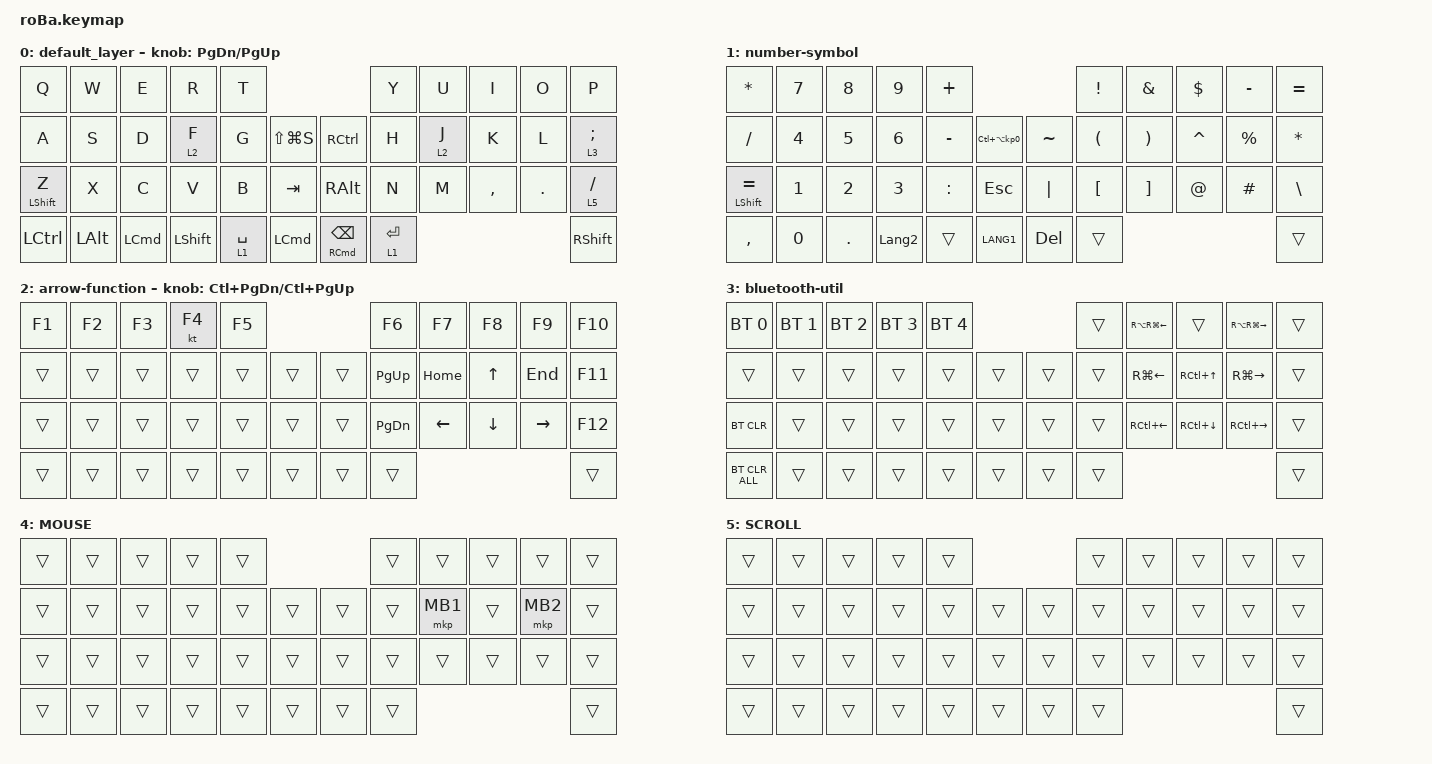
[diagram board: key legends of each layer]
#include <input/processors.dtsi>
#include <behaviors.dtsi>
#include <dt-bindings/zmk/bt.h>
#include <dt-bindings/zmk/keys.h>
#include <dt-bindings/zmk/pointing.h>

#define MOUSE 4

&mt {
    flavor = "balanced";
    quick-tap-ms = <150>;
    tapping-term-ms = <150>;
};

&trackball {
    // automouse-layer = <4>;

    scroll-layers = <5>;

    // arrows {
    //     layers = <3>;
    //     bindings =
    //         <&kp RIGHT_ARROW>,
    //         <&kp LEFT_ARROW>,
    //         <&kp UP_ARROW>,
    //         <&kp DOWN_ARROW>;
    //     tick = <10>;
    //     wait-ms = <5>;
    //     tap-ms = <5>;
    // };
};

&mkp_input_listener {
    input-processors = <&zip_temp_layer MOUSE 700>;
};

/ {
    combos {
        compatible = "zmk,combos";

        tab {
            bindings = <&kp TAB>;
            key-positions = <11 12>;
        };

        shift_tab {
            bindings = <&kp LS(TAB)>;
            key-positions = <12 13>;
        };

        escape {
            bindings = <&kp ESCAPE>;
            key-positions = <0 1>;
        };

        double_quotation {
            bindings = <&kp DOUBLE_QUOTES>;
            key-positions = <20 21>;
        };

        single_quotation {
            bindings = <&kp SQT>;
            key-positions = <20 19>;
        };

        grave {
            bindings = <&kp GRAVE>;
            key-positions = <19 18>;
        };
    };

    macros {
        to_layer_0: to_layer_0 {
            compatible = "zmk,behavior-macro-one-param";
            #binding-cells = <1>;
            bindings = <&to 0 &macro_param_1to1 &kp MACRO_PLACEHOLDER>;
            label = "TO_LAYER_0";
        };

        exit_AML: exit_AML {
            compatible = "zmk,behavior-macro";
            wait-ms = <0>;
            tap-ms = <0>;
            #binding-cells = <0>;
            bindings = <&tog_off MOUSE>;
            label = "exit_AML";
        };

        kp_exit_AML: kp_exit_AML {
            compatible = "zmk,behavior-macro-one-param";
            wait-ms = <0>;
            tap-ms = <0>;
            #binding-cells = <1>;
            bindings = <&macro_param_1to1 &kp MACRO_PLACEHOLDER &exit_AML>;
            label = "KP_exit_AML";
        };
    };

    behaviors {
        lt_to_layer_0: lt_to_layer_0 {
            compatible = "zmk,behavior-hold-tap";
            label = "LAYER_TAP_TO_0";
            bindings = <&mo>, <&to_layer_0>;

            #binding-cells = <2>;
            tapping-term-ms = <150>;
        };

        tog_off: toggle_layer_off {
            compatible = "zmk,behavior-toggle-layer";
            #binding-cells = <1>;
            display-name = "Toggle Layer Off";
            toggle-mode = "off";
        };

        mt_exit_AML_on_tap: mt_exit_AML_on_tap {
            compatible = "zmk,behavior-hold-tap";
            label = "MT_exit_AML_ON_TAP";
            bindings = <&kp>, <&kp_exit_AML>;

            #binding-cells = <2>;
            tapping-term-ms = <200>;
            flavor = "balanced";
            quick-tap-ms = <200>;
        };

        mt2: mod_tap2 {
            compatible = "zmk,behavior-hold-tap";
            #binding-cells = <2>;
            flavor = "tap-preferred";
            tapping-term-ms = <200>;
            quick-tap-ms = <200>;
            require-prior-idle-ms = <125>;
            bindings = <&kp>, <&kp>;
        };
    };

    keymap {
        compatible = "zmk,keymap";

        default_layer {
            bindings = <
&kp Q                             &kp W         &kp E             &kp R           &kp T                                                           &kp Y        &kp U    &kp I      &kp O    &kp P
&kp A                             &kp S         &kp D             &lt 2 F         &kp G        &kp LS(LG(S))         &kp RIGHT_CONTROL            &kp H        &lt 2 J  &kp K      &kp L    &lt 3 SEMICOLON
&mt_exit_AML_on_tap LEFT_SHIFT Z  &kp X         &kp C             &kp V           &kp B        &kp TAB               &kp RIGHT_ALT                &kp N        &kp M    &kp COMMA  &kp DOT  &lt 5 SLASH
&kp LEFT_CONTROL                  &kp LEFT_ALT  &kp LEFT_COMMAND  &kp LEFT_SHIFT  &lt 1 SPACE  &kp LEFT_COMMAND      &mt RIGHT_COMMAND BACKSPACE  &lt 1 ENTER                               &kp RIGHT_SHIFT
            >;

            sensor-bindings = <&inc_dec_kp PAGE_DOWN PAGE_UP>;
        };

        number-symbol {
            bindings = <
&kp ASTERISK                          &kp N7        &kp N8        &kp N9          &kp PLUS                                            &kp EXCLAMATION       &kp AMPERSAND          &kp DOLLAR   &kp MINUS    &kp EQUAL
&kp SLASH                             &kp NUMBER_4  &kp N5        &kp NUMBER_6    &kp MINUS  &kp LC(LA(KP_NUMBER_0))      &kp TILDE   &kp LEFT_PARENTHESIS  &kp RIGHT_PARENTHESIS  &kp CARET    &kp PERCENT  &kp ASTERISK
&mt_exit_AML_on_tap LEFT_SHIFT EQUAL  &kp NUMBER_1  &kp NUMBER_2  &kp NUMBER_3    &kp COLON  &kp ESCAPE                   &kp PIPE    &kp LEFT_BRACKET      &kp RIGHT_BRACKET      &kp AT_SIGN  &kp HASH     &kp BSLH
&kp COMMA                             &kp N0        &kp PERIOD    &kp LANGUAGE_2  &trans     &kp LANG1                    &kp DELETE  &trans                                                                 &trans
            >;
        };

        arrow-function {
            bindings = <
&kp F1  &kp F2  &kp F3  &kt F4  &kp F5                      &kp F6         &kp F7          &kp F8          &kp F9           &kp F10
&trans  &trans  &trans  &trans  &trans  &trans      &trans  &kp PAGE_UP    &kp HOME        &kp UP_ARROW    &kp END          &kp F11
&trans  &trans  &trans  &trans  &trans  &trans      &trans  &kp PAGE_DOWN  &kp LEFT_ARROW  &kp DOWN_ARROW  &kp RIGHT_ARROW  &kp F12
&trans  &trans  &trans  &trans  &trans  &trans      &trans  &trans                                                          &trans
            >;

            sensor-bindings = <&inc_dec_kp LC(PAGE_DOWN) LC(PAGE_UP)>;
        };

        bluetooth-util {
            bindings = <
&bt BT_SEL 0    &bt BT_SEL 1  &bt BT_SEL 2  &bt BT_SEL 3  &bt BT_SEL 4                      &trans  &kp RA(RG(LEFT_ARROW))  &trans              &kp RA(RG(RIGHT_ARROW))  &trans
&trans          &trans        &trans        &trans        &trans        &trans      &trans  &trans  &kp RG(LEFT_ARROW)      &kp RC(UP_ARROW)    &kp RG(RIGHT_ARROW)      &trans
&bt BT_CLR      &trans        &trans        &trans        &trans        &trans      &trans  &trans  &kp RC(LEFT_ARROW)      &kp RC(DOWN_ARROW)  &kp RC(RIGHT_ARROW)      &trans
&bt BT_CLR_ALL  &trans        &trans        &trans        &trans        &trans      &trans  &trans                                                                       &trans
            >;
        };

        MOUSE {
            bindings = <
&trans  &trans  &trans  &trans  &trans                      &trans  &trans    &trans  &trans    &trans
&trans  &trans  &trans  &trans  &trans  &trans      &trans  &trans  &mkp MB1  &trans  &mkp MB2  &trans
&trans  &trans  &trans  &trans  &trans  &trans      &trans  &trans  &trans    &trans  &trans    &trans
&trans  &trans  &trans  &trans  &trans  &trans      &trans  &trans                              &trans
            >;
        };

        SCROLL {
            bindings = <
&trans  &trans  &trans  &trans  &trans                      &trans  &trans  &trans  &trans  &trans
&trans  &trans  &trans  &trans  &trans  &trans      &trans  &trans  &trans  &trans  &trans  &trans
&trans  &trans  &trans  &trans  &trans  &trans      &trans  &trans  &trans  &trans  &trans  &trans
&trans  &trans  &trans  &trans  &trans  &trans      &trans  &trans                          &trans
            >;
        };
    };
};
